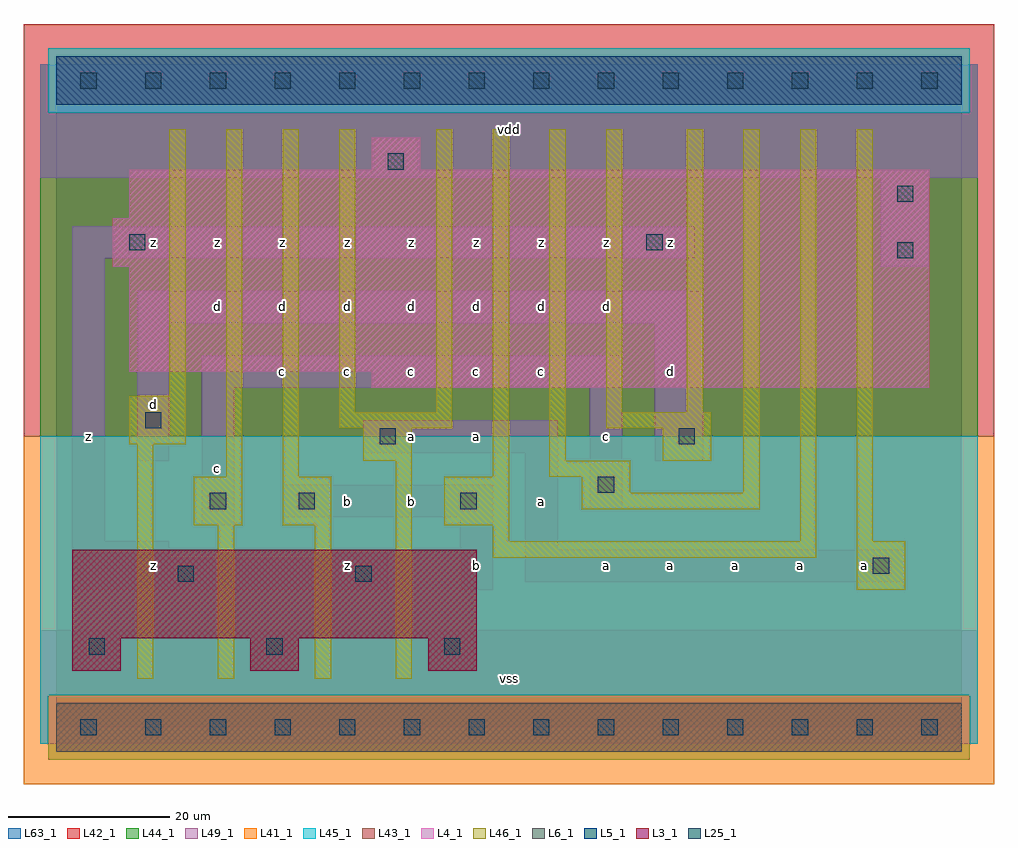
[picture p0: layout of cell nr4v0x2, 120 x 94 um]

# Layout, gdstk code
import gdstk
lib = gdstk.Library(unit=1e-6, precision=1e-09)
def R(c, l, rs):  # rectangles x0, y0, x1, y1
    for r in rs: c.add(gdstk.rectangle(r[:2], r[2:], *l))
def A(c, l, x, y, w, h, nx, ny, dx, dy):  # array of equal rectangles
    R(c, l, [(x+i*dx, y+j*dy, x+i*dx+w, y+j*dy+h) for i in range(nx) for j in range(ny)])
L3_1 = (3, 1)
L4_1 = (4, 1)
L5_1 = (5, 1)
L6_1 = (6, 1)
L25_1 = (25, 1)
L41_1 = (41, 1)
L42_1 = (42, 1)
L43_1 = (43, 1)
L44_1 = (44, 1)
L45_1 = (45, 1)
L46_1 = (46, 1)
L49_1 = (49, 1)
L63_1 = (63, 1)

nr4v0x2 = lib.new_cell('nr4v0x2')
A(nr4v0x2, L3_1, 2, 7, 6, 4, 3, 1, 22, 0)
R(nr4v0x2, L3_1, [(2,11,52,22)])
R(nr4v0x2, L4_1, [(39,42,108,44), (9,44,108,57), (7,57,108,63), (9,63,108,69), (39,69,45,73)])
R(nr4v0x2, L5_1, [(0,77,112,83)])
R(nr4v0x2, L6_1, [(0,-3,112,3), (0,-3,112,3)])
A(nr4v0x2, L25_1, 3, -1, 2, 2, 14, 2, 8, 80)
A(nr4v0x2, L25_1, 4, 9, 2, 2, 3, 1, 22, 0)
R(nr4v0x2, L25_1, [(15,18,17,20), (37,18,39,20), (101,19,103,21), (19,27,21,29), (30,27,32,29), (50,27,52,29), (67,29,69,31), (40,35,42,37), (77,35,79,37), (11,37,13,39), (104,58,106,60), (9,59,11,61), (73,59,75,61), (104,65,106,67), (41,69,43,71)])
R(nr4v0x2, L41_1, [(-4,-7,116,36)])
R(nr4v0x2, L42_1, [(-4,36,116,87)])
A(nr4v0x2, L43_1, 2, 7, 6, 4, 3, 1, 22, 0)
R(nr4v0x2, L43_1, [(0,-3,112,3), (2,11,52,22), (39,42,108,44), (9,44,108,57), (7,57,108,63), (9,63,108,69), (39,69,45,73), (0,77,112,83)])
R(nr4v0x2, L44_1, [(-1,-4,113,4), (-2,36,114,76), (-2,76,-1,82), (113,76,114,82)])
R(nr4v0x2, L45_1, [(-2,-2,-1,4), (113,-2,114,4), (-2,4,114,36), (-1,76,113,84)])
R(nr4v0x2, L46_1, [(10,6,12,35), (20,6,22,25), (32,6,34,25), (42,6,44,33), (99,17,105,23), (54,21,94,23), (54,23,56,25), (92,23,94,74), (99,23,101,74), (17,25,23,31), (28,25,34,31), (48,25,56,31), (65,27,87,29), (65,29,71,31), (85,29,87,74), (21,31,23,74), (28,31,30,74), (54,31,56,74), (61,31,71,33), (38,33,44,37), (61,33,63,74), (75,33,81,37), (9,35,16,41), (35,37,49,39), (68,37,81,39), (35,39,37,74), (47,39,49,74), (68,39,70,74), (78,39,80,74), (14,41,16,74)])
R(nr4v0x2, L49_1, [(-2,-2,114,12), (2,17,41,21), (50,17,54,26), (58,18,105,22), (2,21,14,23), (33,21,41,22), (58,22,62,34), (2,23,6,58), (18,25,22,42), (28,26,54,30), (66,27,70,42), (10,33,14,50), (74,33,80,50), (38,34,62,38), (18,42,70,46), (10,50,80,54), (102,57,108,68), (2,58,79,62), (-2,68,114,82)])
R(nr4v0x2, L63_1, [(0,0,112,80)])
nr4v0x2.add(gdstk.Label('z', (12,20), layer=49, texttype=1))
nr4v0x2.add(gdstk.Label('z', (4,36), layer=49, texttype=1))
nr4v0x2.add(gdstk.Label('d', (12,40), layer=49, texttype=1))
nr4v0x2.add(gdstk.Label('z', (12,60), layer=49, texttype=1))
nr4v0x2.add(gdstk.Label('z', (36,20), layer=49, texttype=1))
nr4v0x2.add(gdstk.Label('b', (36,28), layer=49, texttype=1))
nr4v0x2.add(gdstk.Label('c', (20,32), layer=49, texttype=1))
nr4v0x2.add(gdstk.Label('c', (28,44), layer=49, texttype=1))
nr4v0x2.add(gdstk.Label('c', (36,44), layer=49, texttype=1))
nr4v0x2.add(gdstk.Label('d', (28,52), layer=49, texttype=1))
nr4v0x2.add(gdstk.Label('d', (36,52), layer=49, texttype=1))
nr4v0x2.add(gdstk.Label('d', (20,52), layer=49, texttype=1))
nr4v0x2.add(gdstk.Label('z', (20,60), layer=49, texttype=1))
nr4v0x2.add(gdstk.Label('z', (28,60), layer=49, texttype=1))
nr4v0x2.add(gdstk.Label('z', (36,60), layer=49, texttype=1))
nr4v0x2.add(gdstk.Label('vss', (56,6), layer=49, texttype=1))
nr4v0x2.add(gdstk.Label('b', (44,28), layer=49, texttype=1))
nr4v0x2.add(gdstk.Label('b', (52,20), layer=49, texttype=1))
nr4v0x2.add(gdstk.Label('a', (60,28), layer=49, texttype=1))
nr4v0x2.add(gdstk.Label('a', (44,36), layer=49, texttype=1))
nr4v0x2.add(gdstk.Label('c', (44,44), layer=49, texttype=1))
nr4v0x2.add(gdstk.Label('a', (52,36), layer=49, texttype=1))
nr4v0x2.add(gdstk.Label('c', (52,44), layer=49, texttype=1))
nr4v0x2.add(gdstk.Label('c', (60,44), layer=49, texttype=1))
nr4v0x2.add(gdstk.Label('d', (52,52), layer=49, texttype=1))
nr4v0x2.add(gdstk.Label('d', (60,52), layer=49, texttype=1))
nr4v0x2.add(gdstk.Label('d', (44,52), layer=49, texttype=1))
nr4v0x2.add(gdstk.Label('z', (44,60), layer=49, texttype=1))
nr4v0x2.add(gdstk.Label('z', (52,60), layer=49, texttype=1))
nr4v0x2.add(gdstk.Label('z', (60,60), layer=49, texttype=1))
nr4v0x2.add(gdstk.Label('vdd', (56,74), layer=49, texttype=1))
nr4v0x2.add(gdstk.Label('a', (68,20), layer=49, texttype=1))
nr4v0x2.add(gdstk.Label('a', (76,20), layer=49, texttype=1))
nr4v0x2.add(gdstk.Label('a', (84,20), layer=49, texttype=1))
nr4v0x2.add(gdstk.Label('c', (68,36), layer=49, texttype=1))
nr4v0x2.add(gdstk.Label('d', (76,44), layer=49, texttype=1))
nr4v0x2.add(gdstk.Label('d', (68,52), layer=49, texttype=1))
nr4v0x2.add(gdstk.Label('z', (68,60), layer=49, texttype=1))
nr4v0x2.add(gdstk.Label('z', (76,60), layer=49, texttype=1))
nr4v0x2.add(gdstk.Label('a', (92,20), layer=49, texttype=1))
nr4v0x2.add(gdstk.Label('a', (100,20), layer=49, texttype=1))

lib.write_gds('nr4v0x2.gds')
